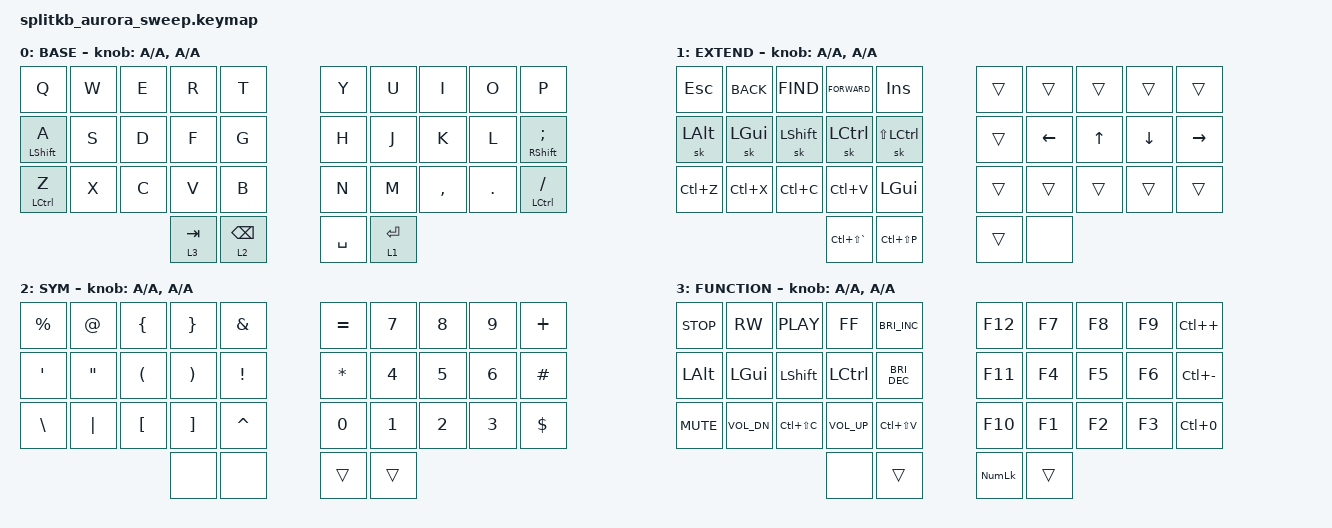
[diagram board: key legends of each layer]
/*
 * Copyright (c) 2022 The ZMK Contributors
 *
 * SPDX-License-Identifier: MIT
 */

#include <behaviors.dtsi>
#include <dt-bindings/zmk/keys.h>

&mt {
    //  flavor = "tap-preferred";
    // tapping_term_ms = <200>;
};

/ {
    combos {
        compatible = "zmk,combos";

        caps_word {
            bindings = <&caps_word>;
            key-positions = <10 19>;
        };

        mins_combo {
            bindings = <&kp MINUS>;
            key-positions = <3 6>;
        };

        unds_combo {
            bindings = <&kp UNDER>;
            key-positions = <13 16>;
        };

        esc_combo {
            bindings = <&kp ESC>;
            key-positions = <0 9>;
        };

        grave_combo {
            bindings = <&kp GRAVE>;
            key-positions = <2 7>;
        };

        tilde_combo {
            bindings = <&kp TILDE>;
            key-positions = <12 17>;
        };

        less_combo {
            bindings = <&kp LESS_THAN>;
            key-positions = <4 5>;
        };

        greater_combo {
            bindings = <&kp GREATER_THAN>;
            key-positions = <14 15>;
        };
    };

    keymap {
        compatible = "zmk,keymap";

        BASE {
            bindings = <
           &kp Q  &kp W  &kp E      &kp R            &kp T      &kp Y        &kp U      &kp I    &kp O            &kp P
&mt LEFT_SHIFT A  &kp S  &kp D      &kp F            &kp G      &kp H        &kp J      &kp K    &kp L  &mt RSHIFT SEMI
     &mt LCTRL Z  &kp X  &kp C      &kp V            &kp B      &kp N        &kp M  &kp COMMA  &kp DOT  &mt LCTRL SLASH
                                &lt 3 TAB  &lt 2 BACKSPACE  &kp SPACE  &lt 1 ENTER
            >;

            sensor-bindings = <&inc_dec_kp A A &inc_dec_kp A A>;
        };

        EXTEND {
            bindings = <
     &kp ESC    &kp K_BACK      &kp K_FIND      &kp K_FORWARD        &kp INS  &trans    &trans  &trans    &trans     &trans
&sk LEFT_ALT  &sk LEFT_GUI  &sk LEFT_SHIFT   &sk LEFT_CONTROL  &sk LS(LCTRL)  &trans  &kp LEFT  &kp UP  &kp DOWN  &kp RIGHT
   &kp LC(Z)     &kp LC(X)       &kp LC(C)          &kp LC(V)   &kp LEFT_GUI  &trans    &trans  &trans    &trans     &trans
                                            &kp LC(LS(GRAVE))  &kp LC(LS(P))  &trans     &none
            >;

            sensor-bindings = <&inc_dec_kp A A &inc_dec_kp A A>;
        };

        SYM {
            bindings = <
     &kp PERCENT             &kp AT        &kp LEFT_BRACE        &kp RIGHT_BRACE   &kp AMPS  &kp EQUAL  &kp N7  &kp N8  &kp N9    &kp PLUS
&kp SINGLE_QUOTE  &kp DOUBLE_QUOTES  &kp LEFT_PARENTHESIS  &kp RIGHT_PARENTHESIS   &kp EXCL  &kp ASTRK  &kp N4  &kp N5  &kp N6    &kp HASH
        &kp BSLH           &kp PIPE      &kp LEFT_BRACKET      &kp RIGHT_BRACKET  &kp CARET     &kp N0  &kp N1  &kp N2  &kp N3  &kp DOLLAR
                                                                           &none      &none     &trans  &trans
            >;

            sensor-bindings = <&inc_dec_kp A A &inc_dec_kp A A>;
        };

        FUNCTION {
            bindings = <
  &kp K_STOP      &kp C_RW      &kp C_PLAY          &kp C_FF  &kp C_BRIGHTNESS_INC     &kp F12  &kp F7  &kp F8  &kp F9   &kp LC(PLUS)
&kp LEFT_ALT  &kp LEFT_GUI  &kp LEFT_SHIFT  &kp LEFT_CONTROL  &kp C_BRIGHTNESS_DEC     &kp F11  &kp F4  &kp F5  &kp F6  &kp LC(MINUS)
  &kp K_MUTE  &kp K_VOL_DN   &kp LC(LS(C))      &kp K_VOL_UP         &kp LC(LS(V))     &kp F10  &kp F1  &kp F2  &kp F3     &kp LC(N0)
                                                       &none                &trans  &kp KP_NUM  &trans
            >;

            sensor-bindings = <&inc_dec_kp A A &inc_dec_kp A A>;
        };
    };
};
